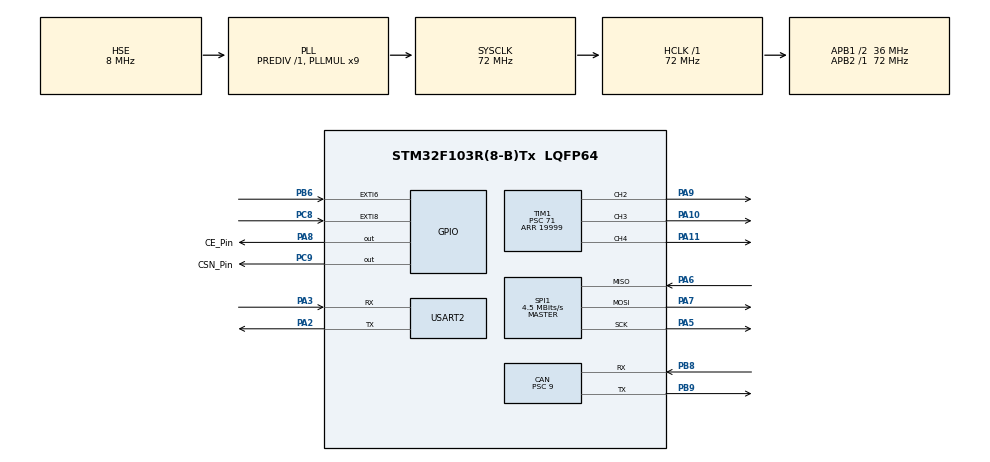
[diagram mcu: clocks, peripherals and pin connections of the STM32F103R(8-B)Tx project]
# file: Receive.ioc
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CAN.BS1=CAN_BS1_6TQ
CAN.CalculateBaudRate=500000
CAN.CalculateTimeBit=2000
CAN.CalculateTimeQuantum=250.0
CAN.Prescaler=9
Mcu.Family=STM32F1
Mcu.Name=STM32F103R(8-B)Tx
Mcu.Package=LQFP64
NVIC.EXTI9_5_IRQn=true\:0\:0\:false\:false\:true\:true\:true\:true
NVIC.PriorityGroup=NVIC_PRIORITYGROUP_4
NVIC.TIM3_IRQn=true\:0\:0\:false\:false\:true\:true\:true\:true
NVIC.USB_LP_CAN1_RX0_IRQn=true\:0\:0\:false\:false\:true\:true\:true\:true
PA10.Signal=S_TIM1_CH3
PA11.Signal=S_TIM1_CH4
PA13.GPIO_Label=TMS
PA13.Mode=Serial_Wire
PA13.Signal=SYS_JTMS-SWDIO
PA14.GPIO_Label=TCK
PA14.Mode=Serial_Wire
PA14.Signal=SYS_JTCK-SWCLK
PA2.Mode=Asynchronous
PA2.Signal=USART2_TX
PA3.Mode=Asynchronous
PA3.Signal=USART2_RX
PA5.Mode=Full_Duplex_Master
PA5.Signal=SPI1_SCK
PA6.Mode=Full_Duplex_Master
PA6.Signal=SPI1_MISO
PA7.Mode=Full_Duplex_Master
PA7.Signal=SPI1_MOSI
PA8.GPIO_Label=CE_Pin
PA8.Signal=GPIO_Output
PA9.Signal=S_TIM1_CH2
PB3.GPIO_Label=SWO
PB3.Signal=SYS_JTDO-TRACESWO
PB6.GPIO_ModeDefaultEXTI=GPIO_MODE_IT_FALLING
PB6.GPIO_PuPd=GPIO_PULLUP
PB6.Signal=GPXTI6
PB8.Mode=CAN_Activate
PB8.Signal=CAN_RX
PB9.Mode=CAN_Activate
PB9.Signal=CAN_TX
PC14-OSC32_IN.Mode=LSE-External-Oscillator
PC14-OSC32_IN.Signal=RCC_OSC32_IN
PC15-OSC32_OUT.Mode=LSE-External-Oscillator
PC15-OSC32_OUT.Signal=RCC_OSC32_OUT
PC8.GPIO_ModeDefaultEXTI=GPIO_MODE_IT_FALLING
PC8.GPIO_PuPd=GPIO_PULLUP
PC8.Signal=GPXTI8
PC9.GPIO_Label=CSN_Pin
PC9.Signal=GPIO_Output
PD0-OSC_IN.Mode=HSE-External-Clock-Source
PD0-OSC_IN.Signal=RCC_OSC_IN
PD1-OSC_OUT.Mode=HSE-External-Clock-Source
PD1-OSC_OUT.Signal=RCC_OSC_OUT
ProjectManager.HeapSize=0x200
ProjectManager.StackSize=0x400
ProjectManager.TargetToolchain=STM32CubeIDE
RCC.AHBFreq_Value=72000000
RCC.APB1CLKDivider=RCC_HCLK_DIV2
RCC.APB1Freq_Value=36000000
RCC.APB1TimFreq_Value=72000000
RCC.APB2Freq_Value=72000000
RCC.APB2TimFreq_Value=72000000
RCC.HCLKFreq_Value=72000000
RCC.PLLMUL=RCC_PLL_MUL9
RCC.PLLSourceVirtual=RCC_PLLSOURCE_HSE
RCC.RTCClockSelection=RCC_RTCCLKSOURCE_LSE
RCC.SYSCLKFreq_VALUE=72000000
RCC.SYSCLKSource=RCC_SYSCLKSOURCE_PLLCLK
RCC.USBFreq_Value=72000000
SH.S_TIM1_CH2.0=TIM1_CH2,PWM Generation2 CH2
SH.S_TIM1_CH3.0=TIM1_CH3,PWM Generation3 CH3
SH.S_TIM1_CH4.0=TIM1_CH4,PWM Generation4 CH4
SPI1.BaudRatePrescaler=SPI_BAUDRATEPRESCALER_16
SPI1.CalculateBaudRate=4.5 MBits/s
SPI1.Direction=SPI_DIRECTION_2LINES
SPI1.Mode=SPI_MODE_MASTER
SPI1.VirtualType=VM_MASTER
TIM1.Channel-PWM\ Generation2\ CH2=TIM_CHANNEL_2
TIM1.Channel-PWM\ Generation3\ CH3=TIM_CHANNEL_3
TIM1.Channel-PWM\ Generation4\ CH4=TIM_CHANNEL_4
TIM1.Period=19999
TIM1.Prescaler=71
TIM3.Period=500-1
TIM3.Prescaler=7200-1
USART2.VirtualMode=VM_ASYNC
VP_IWDG_VS_IWDG.Mode=IWDG_Activate
VP_TIM1_VS_ClockSourceINT.Mode=Internal
VP_TIM3_VS_ClockSourceINT.Mode=Internal
board=NUCLEO-F103RB

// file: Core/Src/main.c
/* USER CODE BEGIN Header */
/**
  ******************************************************************************
  * @file           : main.c
  * @brief          : Main program body
  ******************************************************************************
  * @attention
  *
  * Copyright (c) 2025 STMicroelectronics.
  * All rights reserved.
  *
  * This software is licensed under terms that can be found in the LICENSE file
  * in the root directory of this software component.
  * If no LICENSE file comes with this software, it is provided AS-IS.
  *
  ******************************************************************************
  */
/* USER CODE END Header */
#include "main.h"
#include "can.h"
#include "iwdg.h"
#include "spi.h"
#include "tim.h"
#include "usart.h"
#include "gpio.h"

/* USER CODE BEGIN Includes */
#include "NRF24.h"
#include "NRF24_conf.h"
#include "stdio.h"
#include "string.h"
#include "stdlib.h"
#include "NRF24_reg_addresses.h"
#include <math.h>
#include <stdbool.h>

/* USER CODE END Includes */

/* USER CODE BEGIN PD */
#define ADC_MAX 4090    // 실제 최대값
#define ADC_MIN 0
#define ADC_NEU 2040	//ADC 중간값 4020/2
#define ADC_DEAD_ZONE 200	//데드존 처리 100

#define ROTATION_CONST -0.5f    // 회전 상수

#define RX_TIMEOUT_MS 100	//안정장치-100ms동안 조종기 신호가 없으면 통신이 끊겼다고 판단하고 모터를 정지시킴
// VESC Tool에서 설정한 최대 eRPM 값. 안전을 위해 코드에서도 제한을 둡니다.
#define MAX_ERPM 5000.0f

/* USER CODE END PD */

/* USER CODE BEGIN PV */
uint8_t rx_address[5] = {0xE7, 0xE7, 0xE7, 0xE7, 0xE7};

volatile uint8_t nrf_irq_flag = 0;
volatile uint8_t watchdog_flag = 0;

//system state
static uint32_t last_rx_ms = 0;
// --- pwm_active를 motor_active로 의미를 명확히 함 ---
static uint16_t motor_active = 0;

//이부분 봐서 지우던지 하기
#define PRINT_INTERVAL_MS 50      // 테라텀 줄당 출력 주기(ms)
volatile uint32_t exti_hits = 0;
uint32_t last_rawX = 0, last_rawY = 0, last_rawZ = 0;
static inline void kickdog(void) {
    HAL_IWDG_Refresh(&hiwdg);
}

/* USER CODE END PV */

void SystemClock_Config(void);
/* USER CODE BEGIN PFP */
void CAN_SetERPM(uint8_t vesc_id, int32_t erpm);
void KiwiDrive_CAN(float vx, float vy, float omega);
void CAN_StopAll(void);
void nrf24_receiver_setup(void);
void system_watchdog_service(void);
void nrf24_irq_service(void); // <-- 이 줄 추가

/* USER CODE END PFP */

/* USER CODE BEGIN 0 */
extern IWDG_HandleTypeDef hiwdg;

/* USER CODE END 0 */

int main(void)
{

  /* MCU Configuration--------------------------------------------------------*/

  /* Reset of all peripherals, Initializes the Flash interface and the Systick. */
  HAL_Init();

  /* Configure the system clock */
  SystemClock_Config();

  /* Initialize all configured peripherals */
  MX_GPIO_Init();
  MX_USART2_UART_Init();
  MX_SPI1_Init();
  MX_TIM1_Init();
  MX_TIM3_Init();
  MX_IWDG_Init();
  MX_CAN_Init();
  /* USER CODE BEGIN 2 */

  // --- CAN 설정 및 시작 코드 추가 ---
  CAN_FilterTypeDef can_filter;
  can_filter.FilterBank = 0;
  can_filter.FilterMode = CAN_FILTERMODE_IDMASK;
  can_filter.FilterScale = CAN_FILTERSCALE_32BIT;
  can_filter.FilterIdHigh = 0x0000;
  can_filter.FilterIdLow = 0x0000;
  can_filter.FilterMaskIdHigh = 0x0000;
  can_filter.FilterMaskIdLow = 0x0000;
  can_filter.FilterFIFOAssignment = CAN_RX_FIFO0;
  can_filter.FilterActivation = ENABLE;
  if (HAL_CAN_ConfigFilter(&hcan, &can_filter) != HAL_OK) {
      Error_Handler();
  }
  if (HAL_CAN_Start(&hcan) != HAL_OK) {
      Error_Handler();
  }
  if (HAL_CAN_ActivateNotification(&hcan, CAN_IT_RX_FIFO0_MSG_PENDING) != HAL_OK) {
      Error_Handler();
  }
  // --- CAN 설정 끝 ---

  nrf24_init();

 nrf24_receiver_setup();

  HAL_TIM_Base_Start_IT(&htim3);
  HAL_Delay(10);

  /* USER CODE END 2 */

  /* Infinite loop */
  while (1)
  {

    /* USER CODE BEGIN 3 */

	    // 1. NRF 데이터 수신 처리 (가장 우선순위 높음)
	    if (nrf_irq_flag) {
	        nrf_irq_flag = 0;      // 플래그 즉시 내리기
	        nrf24_irq_service();   // 데이터 처리
	        kickdog();             // IWDG 리셋
	    }

	    // 2. TIM3 기반 주기적 작업 처리 (10ms 마다)
	    if (watchdog_flag) {

	        watchdog_flag = 0;     // 플래그 즉시 내리기
	        system_watchdog_service(); // 통신 타임아웃 검사
	        // 여기에 나중에 추가할 주기적인 작업들을 넣으세요 (예: 배터리 체크)
	    }

	    // 3. 처리할 이벤트가 없으면 잠들기
	    // WFI는 어떤 인터럽트(SysTick, NRF, TIM3 등)가 발생하면 즉시 깨어납니다.
	    __WFI();

	}
  /* USER CODE END 3 */
}

void SystemClock_Config(void)
{
  RCC_OscInitTypeDef RCC_OscInitStruct = {0};
  RCC_ClkInitTypeDef RCC_ClkInitStruct = {0};

  /** Initializes the RCC Oscillators according to the specified parameters
  * in the RCC_OscInitTypeDef structure.
  */
  RCC_OscInitStruct.OscillatorType = RCC_OSCILLATORTYPE_LSI|RCC_OSCILLATORTYPE_HSE;
  RCC_OscInitStruct.HSEState = RCC_HSE_BYPASS;
  RCC_OscInitStruct.HSEPredivValue = RCC_HSE_PREDIV_DIV1;
  RCC_OscInitStruct.HSIState = RCC_HSI_ON;
  RCC_OscInitStruct.LSIState = RCC_LSI_ON;
  RCC_OscInitStruct.PLL.PLLState = RCC_PLL_ON;
  RCC_OscInitStruct.PLL.PLLSource = RCC_PLLSOURCE_HSE;
  RCC_OscInitStruct.PLL.PLLMUL = RCC_PLL_MUL9;
  if (HAL_RCC_OscConfig(&RCC_OscInitStruct) != HAL_OK)
  {
    Error_Handler();
  }

  /** Initializes the CPU, AHB and APB buses clocks
  */
  RCC_ClkInitStruct.ClockType = RCC_CLOCKTYPE_HCLK|RCC_CLOCKTYPE_SYSCLK
                              |RCC_CLOCKTYPE_PCLK1|RCC_CLOCKTYPE_PCLK2;
  RCC_ClkInitStruct.SYSCLKSource = RCC_SYSCLKSOURCE_PLLCLK;
  RCC_ClkInitStruct.AHBCLKDivider = RCC_SYSCLK_DIV1;
  RCC_ClkInitStruct.APB1CLKDivider = RCC_HCLK_DIV2;
  RCC_ClkInitStruct.APB2CLKDivider = RCC_HCLK_DIV1;

  if (HAL_RCC_ClockConfig(&RCC_ClkInitStruct, FLASH_LATENCY_2) != HAL_OK)
  {
    Error_Handler();
  }
}

/* USER CODE BEGIN 4 */

void HAL_GPIO_EXTI_Callback(uint16_t GPIO_Pin){
	//nRF24L01 모듈이 데이터를 수신하면 PA4 IRQ핀에 하강엣지 트리거 발생, 위 콜백함수 호출

	if(GPIO_Pin == GPIO_PIN_8){	//이 인터럽트가 PA4핀에서 발생했으면

		nrf_irq_flag = 1;	//Main 루프에 데이터 도착 플래그 올림
	}
}

static inline float clampf(float x,float a,float b){
    return x<a?a:(x>b?b:x);
}

float NormalizeADC(int16_t raw){
    int16_t delta = raw - ADC_NEU;
    if(abs(delta) < ADC_DEAD_ZONE) return 0.0f;
    if(delta > 0) return (float)delta / (float)(ADC_MAX - ADC_NEU);
    else return (float)delta / (float)(ADC_NEU - ADC_MIN);
}

// --- KiwiDrive와 주변 함수를 CAN 기반으로 변경 ---

void CAN_SetERPM(uint8_t vesc_id, int32_t erpm) {
    CAN_TxHeaderTypeDef tx_header;
    uint8_t tx_data[8];
    uint32_t can_mailbox;

    tx_header.IDE = CAN_ID_EXT;
    tx_header.ExtId = (0x00000300 | vesc_id); // CAN_PACKET_SET_RPM command
    tx_header.RTR = CAN_RTR_DATA;
    tx_header.DLC = 4;

    tx_data[0] = (erpm >> 24) & 0xFF;
    tx_data[1] = (erpm >> 16) & 0xFF;
    tx_data[2] = (erpm >> 8) & 0xFF;
    tx_data[3] = erpm & 0xFF;

    if (HAL_CAN_AddTxMessage(&hcan, &tx_header, tx_data, &can_mailbox) != HAL_OK) {
            printf("CAN TX FAILED!\r\n");
        } else {
            printf("CAN TX OK! ID:%d, ERPM:%ld\r\n", (int)vesc_id, erpm);
        }

}

void KiwiDrive_CAN(float vx, float vy, float omega) {
    float Rw = -ROTATION_CONST * omega;

    float Mtop = vx + Rw;
    float Mbl = 0.866f * vy - 0.5f * vx + Rw;
    float Mbr = -0.866f * vy - 0.5f * vx + Rw;

    float maxM = fmaxf(fabsf(Mtop), fmaxf(fabsf(Mbl), fabsf(Mbr)));
    if (maxM > 1.0f) {
        Mtop /= maxM;
        Mbl  /= maxM;
        Mbr  /= maxM;
    }

    int32_t erpm_top = (int32_t)(Mtop * MAX_ERPM);
    int32_t erpm_bl = (int32_t)(Mbl * MAX_ERPM);
    int32_t erpm_br = (int32_t)(Mbr * MAX_ERPM);

    // VESC ID는 VESC Tool에서 설정한 값과 일치해야 합니다.
    CAN_SetERPM(1, erpm_top); // Top motor (ID 1)
    // --- VESC 1개 테스트 시에는 아래 2줄은 주석 처리 ---
     CAN_SetERPM(2, erpm_bl);  // Bottom-Left motor (ID 2)
     CAN_SetERPM(3, erpm_br);  // Bottom-Right motor (ID 3)
}

int __io_putchar(int ch)
{
    HAL_UART_Transmit(&huart2, (uint8_t*)&ch, 1, HAL_MAX_DELAY);
    return ch;
}

void nrf24_irq_service(void){

	nrf24_stop_listen();
	uint8_t st = nrf24_r_reg(STATUS, 1);

	if(st & (1<<6)){ // RX_DR (Data Ready) flag

		uint8_t buf[6];
		nrf24_receive(buf,6);

		uint16_t rawX = (uint16_t)buf[0] | ((uint16_t)buf[1] << 8);
		uint16_t rawY = (uint16_t)buf[2] | ((uint16_t)buf[3] << 8);
		uint16_t rawZ = (uint16_t)buf[4] | ((uint16_t)buf[5] << 8);
		printf("RX ADC -> X:%u, Y:%u, Z:%u\r\n", rawX, rawY, rawZ);
		motor_active = 1;

		float vx = NormalizeADC((int16_t)rawX);
		float vy = NormalizeADC((int16_t)rawY);
		float omega = NormalizeADC((int16_t)rawZ);

		float erpm = sqrt(vx*vx + vy*vy) * MAX_ERPM; //ERPM 값 계산 예시
		printf("Calculated ERPM: %.2f\r\n", erpm);
		KiwiDrive_CAN(vx, vy, omega); // CAN 함수 호출로 변경

		last_rx_ms = HAL_GetTick();
		nrf24_clear_rx_dr();
	}
	nrf24_listen();
}
void HAL_TIM_PeriodElapsedCallback(TIM_HandleTypeDef* htim){
	if(htim->Instance == TIM3){
		watchdog_flag = 1;
	}
}

void system_watchdog_service(void){
	if(motor_active){
		if((HAL_GetTick() - last_rx_ms) > RX_TIMEOUT_MS){
			CAN_StopAll(); // CAN 정지 함수 호출로 변경
		}
	}
}

void CAN_StopAll(void) {
    CAN_SetERPM(1, 0);
    // --- VESC 1개 테스트 시에는 아래 2줄은 주석 처리 ---
     CAN_SetERPM(2, 0);
     CAN_SetERPM(3, 0);
    motor_active = 0;
}
void nrf24_receiver_setup(void)
{

    nrf24_defaults();                               //레지스터 기본값으로 리셋
    HAL_Delay(5);                                   //전원, spi안정화 대기(최소 4.5ms이상 필요)
    nrf24_stop_listen();

    nrf24_pwr_up();
    HAL_Delay(5);

    nrf24_set_channel(40);
                       //무선 채널 40설정
    nrf24_auto_ack_all(disable);
    nrf24_dpl(disable);
    nrf24_data_rate(_1mbps);
    nrf24_set_payload_size(6);
    nrf24_rx_mode();

    uint8_t cfg = nrf24_r_reg(CONFIG, 1);
    cfg &= ~((1<<6) | (1<<5) | (1<<4));
    nrf24_w_reg(CONFIG, &cfg, 1);

    nrf24_open_rx_pipe(0, rx_address);
    nrf24_listen();
    __HAL_GPIO_EXTI_CLEAR_IT(GPIO_PIN_8);
}

void HAL_CAN_RxFifo0MsgPendingCallback(CAN_HandleTypeDef *h){
    CAN_RxHeaderTypeDef rx;
    uint8_t d[8];
    if (HAL_CAN_GetRxMessage(h, CAN_RX_FIFO0, &rx, d)==HAL_OK){
        if (rx.IDE == CAN_ID_EXT){
        	printf("RX EID=0x%08lX DLC=%ld\r\n", (unsigned long)rx.ExtId, (unsigned long)rx.DLC);
        }
    }
}

/* USER CODE END 4 */

void Error_Handler(void)
{
	__disable_irq();
  while (1)
  {
  }
}
